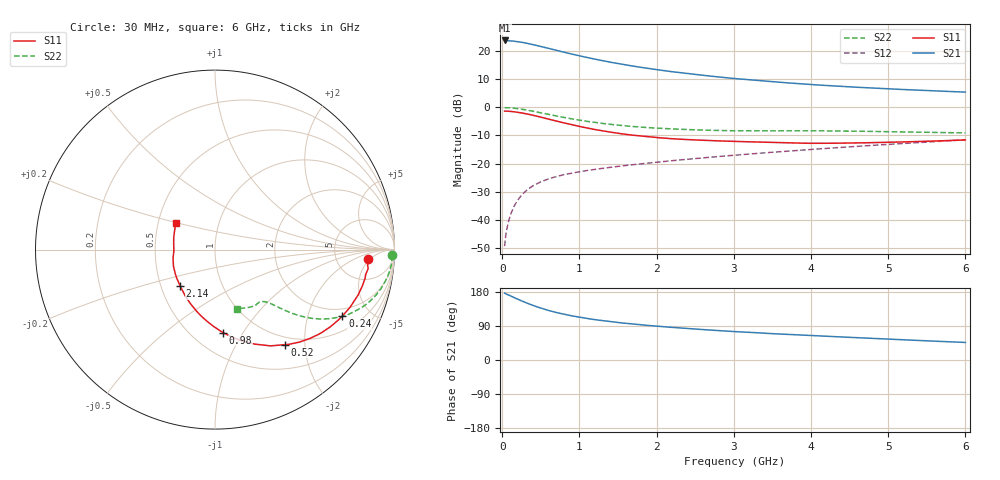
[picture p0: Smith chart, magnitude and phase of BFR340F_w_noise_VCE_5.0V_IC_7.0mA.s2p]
! Infineon Technologies  Discrete & RF Semiconductors
! BFR340F
! VCE =  5.0 V,  IC =  7.0 mA
! Common Emitter S-Parameters:  Nov 2015
# GHz  S  MA  R  50
!  f  S11  S21  S12  S22
! GHz  MAG  ANG  MAG  ANG  MAG  ANG  MAG  ANG
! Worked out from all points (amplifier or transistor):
!   206 points, 30 MHz to 6 GHz, reference 50 ohm
!   highest |S21| = 23.8 dB at 30 MHz (marker M1)
!   |S21| within 3 dB of that: start of sweep to 626.1 MHz
!   unconditionally stable (mu >= 1): 2.845 GHz to 5.704 GHz
!   at 200 MHz: K = 0.14, MSG = 28.2 dB, |S12| = -33.0 dB
!   at 1.56 GHz: K = 0.81, MSG = 18.0 dB, |S12| = -20.8 dB
!   at 6 GHz: K = 0.99, MSG = 8.5 dB, |S12| = -11.5 dB
!   lowest NFmin = 1.25 dB at 450 MHz
!   S11 on the Smith chart (normalised r, x): 30 MHz: 11, -4; 240 MHz: 1.63, -3.35; 520 MHz: 0.87, -1.63; 980 MHz: 0.70, -0.82; 2.14 GHz: 0.63, -0.28; 6 GHz: 0.62, +0.19
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0.03  0.8567 -3.4  15.48 176.5  0.0034 86.3  0.9886 -1.9
0.05  0.8541 -5.7  15.34 174.1  0.006 84.5  0.9876 -3.3
0.07  0.8539 -8.5  15.4 172.3  0.008 85.6  0.9866 -4.7
0.08  0.8506 -9.5  15.31 171.8  0.0093 85.0  0.985 -5.4
0.14  0.8385 -16.4  15.1 166.0  0.016 81.4  0.9707 -9.5
0.24  0.8007 -27.5  14.46 156.8  0.0264 75.9  0.9328 -15.7
0.34  0.7539 -37.7  13.61 148.4  0.0355 71.2  0.8843 -21.0
0.4  0.7232 -43.3  13.05 143.8  0.0404 68.9  0.8529 -23.7
0.52  0.6585 -53.5  11.91 135.7  0.0487 65.1  0.7895 -28.4
0.6  0.6187 -60.1  11.19 130.7  0.0535 63.1  0.7491 -30.9
0.7  0.5712 -67.2  10.34 125.3  0.0588 61.3  0.7025 -33.4
0.8  0.5293 -73.8  9.553 120.7  0.0635 59.9  0.661 -35.4
0.98  0.4645 -84.4  8.368 113.7  0.0708 58.4  0.598 -38.0
1.04  0.4462 -87.6  8.02 111.6  0.0731 58.1  0.5804 -38.7
1.2  0.4035 -96.0  7.196 106.5  0.079 57.7  0.5386 -40.2
1.5  0.3458 -109.8  6.008 98.9  0.0891 57.8  0.4824 -42.1
2.02  0.2892 -129.5  4.647 89.0  0.1064 59.0  0.4259 -44.4
2.14  0.2806 -133.8  4.417 87.0  0.1105 59.3  0.4177 -44.9
3.1  0.2465 -160.2  3.179 74.1  0.1444 61.2  0.3831 -50.0
4.1  0.2295 -179.7  2.495 63.6  0.1824 62.0  0.3828 -54.6
5.1  0.2412 161.6  2.106 54.2  0.2238 61.6  0.3682 -61.9
6  0.2633 146.1  1.867 46.3  0.2649 60.3  0.3512 -69.6
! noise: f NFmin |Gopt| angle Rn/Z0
0.45  1.25  0.38  2  0.3
0.9  1.27  0.38  11  0.33
1.9  1.54  0.25  11  0.31
2.4  1.69  0.21  23  0.3
